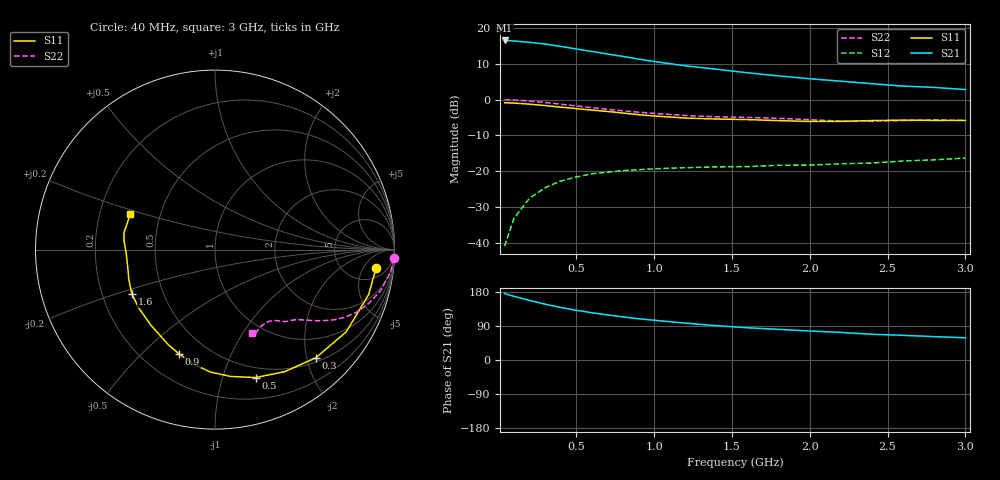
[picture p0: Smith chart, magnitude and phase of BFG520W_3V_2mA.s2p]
! Filename:  BFG520WA.S2P  Version:  4.0
! Philips part #: BFG520  Date: Jun 1994
! Bias condition: Vce=3.0V, Ic=2.0mA
! IN LINE PINNING: same data as with cross emitter pinning.
#  MHz  S  MA  R  50
! Freq  S11  S21  S12  S22  !GUM [dB]
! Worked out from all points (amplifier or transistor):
!   21 points, 40 MHz to 3 GHz, reference 50 ohm
!   highest |S21| = 16.5 dB at 40 MHz (marker M1)
!   |S21| within 3 dB of that: start of sweep to 590.4 MHz
!   unconditionally stable (mu >= 1): 1.968 GHz to end of sweep
!   at 300 MHz: K = 0.13, MSG = 20.0 dB, |S12| = -24.6 dB
!   at 1 GHz: K = 0.50, MSG = 15.0 dB, |S12| = -19.3 dB
!   at 3 GHz: K = 1.17, MAG = 7.0 dB, |S12| = -16.3 dB
!   S11 on the Smith chart (normalised r, x): 40 MHz: 9, -10; 300 MHz: 0.58, -2.17; 500 MHz: 0.40, -1.29; 900 MHz: 0.35, -0.65; 1.6 GHz: 0.33, -0.22; 3 GHz: 0.33, +0.18
40  0.903 -6.6  6.675 175.1  0.009 85.5  0.997 -2.8
100  0.892 -16.3  6.576 168.0  0.022 81.5  0.987 -7.2
200  0.863 -32.0  6.281 157.3  0.042 72.5  0.952 -13.7
300  0.824 -47.0  5.957 147.4  0.059 65.8  0.909 -19.2
400  0.783 -60.3  5.509 138.6  0.073 59.9  0.862 -23.9
500  0.748 -72.4  5.083 131.3  0.083 55.1  0.815 -27.6
600  0.712 -83.0  4.689 124.8  0.092 51.1  0.77 -30.5
700  0.682 -92.4  4.328 119.0  0.097 48.1  0.73 -32.8
800  0.648 -100.8  3.991 113.8  0.102 46.1  0.698 -34.6
900  0.615 -108.9  3.67 108.9  0.105 44.5  0.667 -36.3
1000  0.59 -116.2  3.396 104.9  0.108 43.5  0.641 -37.8
1200  0.552 -130.5  2.959 97.4  0.112 42.6  0.599 -40.6
1400  0.535 -142.4  2.651 90.6  0.115 42.1  0.575 -43.4
1600  0.525 -152.0  2.363 85.0  0.116 44.2  0.563 -45.4
1800  0.508 -160.9  2.137 80.8  0.121 45.7  0.547 -47.0
2000  0.495 -169.9  1.95 76.6  0.122 48.2  0.523 -49.1
2200  0.496 -178.6  1.804 72.8  0.127 50.6  0.5 -52.9
2400  0.509 174.7  1.662 67.9  0.13 54.8  0.497 -58.2
2600  0.516 169.3  1.54 65.1  0.139 58.2  0.509 -62.3
2800  0.511 164.1  1.477 61.7  0.144 60.3  0.52 -64.2
3000  0.512 157.4  1.378 58.6  0.153 63.4  0.511 -66.1
